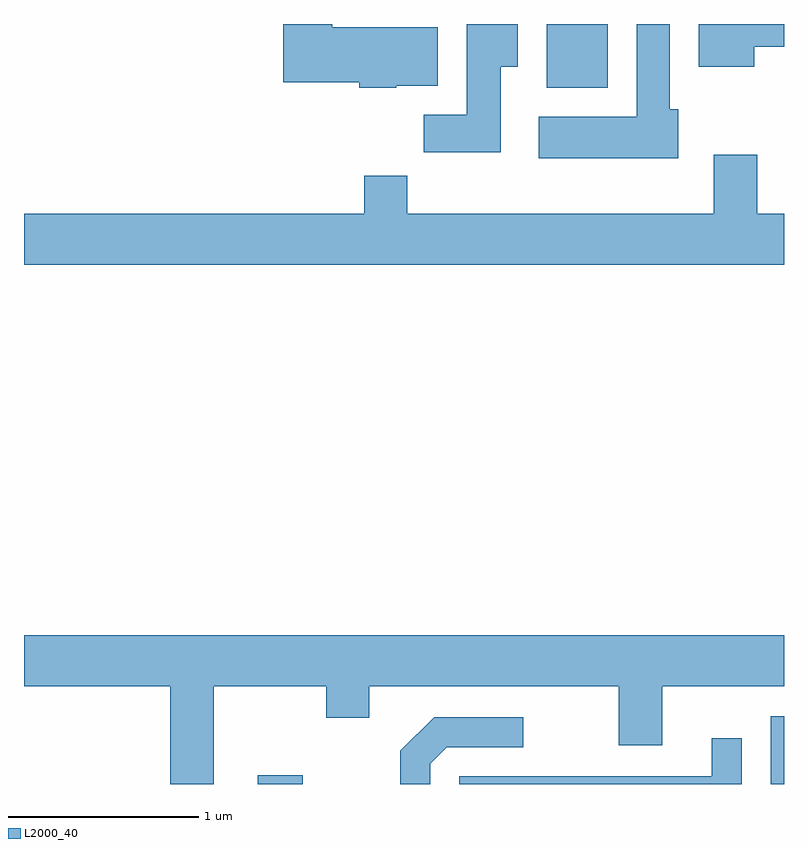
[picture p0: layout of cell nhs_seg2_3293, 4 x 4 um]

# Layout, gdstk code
import gdstk
lib = gdstk.Library(unit=1e-6, precision=1e-09)
def R(c, l, rs):  # rectangles x0, y0, x1, y1
    for r in rs: c.add(gdstk.rectangle(r[:2], r[2:], *l))
def P(c, l, *ps):  # polygons
    for p in ps: c.add(gdstk.Polygon(p, *l))
L2000_40 = (2000, 40)

nhs_seg2_3293 = lib.new_cell('nhs_seg2_3293')
R(nhs_seg2_3293, L2000_40, [(282.841,1047.802,283.078,1047.849), (285.541,1047.802,285.611,1048.159), (284.361,1051.466,284.684,1051.802)])
P(nhs_seg2_3293, L2000_40, [(285.054,1051.354),(285.009,1051.354),(285.009,1051.802),(284.836,1051.802),(284.836,1051.314),(284.321,1051.314),(284.321,1051.096),(285.054,1051.096)],
  [(284.119,1051.576),(284.209,1051.576),(284.209,1051.802),(283.941,1051.802),(283.941,1051.324),(283.716,1051.324),(283.716,1051.126),(284.119,1051.126)],
  [(285.454,1051.681),(285.611,1051.681),(285.611,1051.802),(285.161,1051.802),(285.161,1051.576),(285.454,1051.576)],
  [(283.57,1051.476),(283.789,1051.476),(283.789,1051.784),(283.234,1051.784),(283.234,1051.802),(282.976,1051.802),(282.976,1051.496),(283.376,1051.496),(283.376,1051.466),(283.57,1051.466)],
  [(285.611,1050.804),(285.469,1050.804),(285.469,1051.114),(285.241,1051.114),(285.241,1050.804),(283.629,1050.804),(283.629,1051.004),(283.401,1051.004),(283.401,1050.804),(281.611,1050.804),(281.611,1050.536),(285.611,1050.536)],
  [(282.609,1048.316),(283.201,1048.316),(283.201,1048.151),(283.429,1048.151),(283.429,1048.316),(284.741,1048.316),(284.741,1048.006),(284.969,1048.006),(284.969,1048.316),(285.611,1048.316),(285.611,1048.584),(281.611,1048.584),(281.611,1048.316),(282.381,1048.316),(282.381,1047.802),(282.609,1047.802)],
  [(283.749,1047.909),(283.837,1047.996),(284.238,1047.996),(284.238,1048.154),(283.769,1048.154),(283.591,1047.977),(283.591,1047.802),(283.749,1047.802)],
  [(285.389,1048.043),(285.231,1048.043),(285.231,1047.844),(283.901,1047.844),(283.901,1047.802),(285.389,1047.802)])

lib.write_gds('nhs_seg2_3293.gds')
